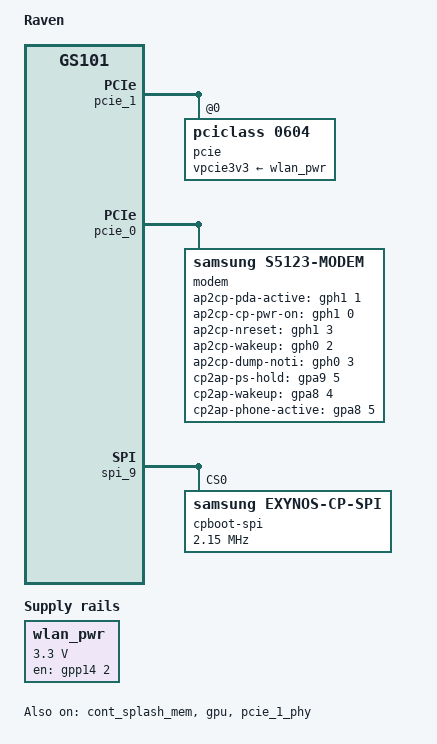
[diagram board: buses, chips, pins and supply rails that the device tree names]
// SPDX-License-Identifier: GPL-2.0-only
/*
 * Raven Device Tree
 *
 * Copyright 2021-2023 Google LLC
 * Copyright 2023-2025 Linaro Ltd
 */

/dts-v1/;

#include "gs101-pixel-common.dtsi"

/ {
	model = "Raven";
	compatible = "google,gs101-raven", "google,gs101";

	/*
	 * ABL picks the base DTB by soc_id (product id 0x09845000 | major
	 * revision); the factory vendor_boot carries one per revision. B0 = 1.
	 */
	soc_id = <0x09845001 0x0>;

	chosen {
		/*
		 * ABL appends its own arguments (console=null among them), so a
		 * panic is silent: panic=10 reboots instead of hanging. init hands
		 * over to the Arch root on userdata when it finds one.
		 */
		bootargs = "console=tty0 panic=10 clk_ignore_unused pd_ignore_unused rdinit=/init";
	};
};

&acpm_ipc {
	pmic-2 {
		regulators {
			ldo4s {
				regulator-name = "vdd2_uwb";
				regulator-min-microvolt = <2500000>;
				regulator-max-microvolt = <3300000>;
			};

			ldo14s {
				regulator-name = "vdd3_uwb";
				regulator-min-microvolt = <1600000>;
				regulator-max-microvolt = <1950000>;
			};
		};
	};
};

&cont_splash_mem {
	reg = <0x0 0xfac00000 (1440 * 3120 * 4)>;

	status = "okay";
};

&framebuffer0 {
	width = <1440>;
	height = <3120>;
	stride = <(1440 * 4)>;
	format = "a8r8g8b8";

	status = "okay";
};

/* The Mali-G78 MP20 on its S2MPG10/11 rails, as postmarketOS describes them */
&gpu {
	mali-supply = <&s2mpg11_buck2s>;
	g3d-l2-supply = <&s2mpg11_buck8s>;
	g3d-m-supply = <&s2mpg11_ldo1s>;
	int-m-supply = <&s2mpg10_buck7m>;

	status = "okay";
};

/*
 * GSA's pin controller belongs to the secure world: a read of its registers
 * from Linux raises a synchronous external abort (its debugfs pin list
 * oopsed and once hung the phone). Nothing here uses its one bank (gps3).
 */
&pinctrl_gsactrl {
	status = "disabled";
};

/*
 * Wi-Fi: the BCM4389 on PCIe GEN4A_1 (Google's gs101-common-wlan.dtsi):
 * WL_REG_ON on gpp14-2. As on cheetah, its DMA buffers come from a
 * restricted pool below 4 GiB (2 address cells, 1 size cell on gs101).
 * Google's raven node runs the link without cache coherency.
 */
/ {
	wlan_pwr: regulator-wlan {
		compatible = "regulator-fixed";
		regulator-name = "wlan-reg-on";
		regulator-min-microvolt = <3300000>;
		regulator-max-microvolt = <3300000>;
		gpio = <&gpp14 2 GPIO_ACTIVE_HIGH>;
		enable-active-high;
		startup-delay-us = <200000>;
	};

	reserved-memory {
		wifi_dma_pool: wifi-dma-pool {
			compatible = "restricted-dma-pool";
			size = <0x1000000>;
			alignment = <0x0 0x200000>;
			/* the chip's writes above 4 GiB are not seen (cheetah) */
			alloc-ranges = <0x0 0x80000000 0x80000000>;
		};
	};
};

&pcie_1_phy {
	status = "okay";
};

&pcie_1 {
	status = "okay";

	pcie@0,0 {
		compatible = "pciclass,0604";
		device_type = "pci";
		reg = <0x0 0x0 0x0 0x0 0x0>;
		bus-range = <0x01 0xff>;
		#address-cells = <3>;
		#size-cells = <2>;
		ranges;
		vpcie3v3-supply = <&wlan_pwr>;

		wifi@0,0 {
			compatible = "pci14e4,4441";
			reg = <0x10000 0x0 0x0 0x0 0x0>;
			brcm,board-type = "google,gs101-raven";
			memory-region = <&wifi_dma_pool>;
		};
	};
};

/ {
	aliases {
		/* the modem's first boot stage: cpboot_spi_bus_num = 9 */
		spi9 = &spi_9;
	};
};

/*
 * Modem: Samsung S5123 on PCIe GEN4A_0 (HSI1), with its control lines from
 * stock's cpif node (board overlay 6). Raw levels, as Google's CPIF drives
 * them. The S5123 has no warm-reset lines. The link driver (pcie-gs201-cp)
 * drives these while pcie_0 is enabled, which only the modem-link-test
 * bring-up overlay does; the shared memory comes with the modem driver
 * (MODEM-PLAN.md M3).
 */
&pcie_0 {
	modem {
		compatible = "samsung,s5123-modem";
		ap2cp-pda-active-gpios = <&gph1 1 GPIO_ACTIVE_HIGH>;
		ap2cp-cp-pwr-on-gpios = <&gph1 0 GPIO_ACTIVE_HIGH>;
		ap2cp-nreset-gpios = <&gph1 3 GPIO_ACTIVE_HIGH>;
		ap2cp-wakeup-gpios = <&gph0 2 GPIO_ACTIVE_HIGH>;
		ap2cp-dump-noti-gpios = <&gph0 3 GPIO_ACTIVE_HIGH>;
		cp2ap-ps-hold-gpios = <&gpa9 5 GPIO_ACTIVE_HIGH>;
		cp2ap-wakeup-gpios = <&gpa8 4 GPIO_ACTIVE_HIGH>;
		cp2ap-phone-active-gpios = <&gpa8 5 GPIO_ACTIVE_HIGH>;
	};
};

/*
 * The modem's first boot stage (the BOOT entry of modem.bin, under 128 KiB)
 * goes over USI9's SPI before its PCIe side comes up, as on stock (board
 * overlay 6: native chip select, 2.15 MHz). Disabled until the
 * modem-spi-test bring-up overlay.
 */
&usi9 {
	samsung,mode = <USI_MODE_SPI>;
};

&spi_9 {
	pinctrl-0 = <&spi9_bus &spi9_cs_func>;
	pinctrl-names = "default";
	num-cs = <1>;

	cpboot-spi@0 {
		compatible = "samsung,exynos-cp-spi";
		reg = <0>;
		spi-max-frequency = <2150000>;
	};
};

/*
 * The modem's shared memory, as stock's cp_shmem (board overlay 6): IPC,
 * the MSI page and the packet processor's downlink and uplink buffers. The
 * modem writes these by DMA once it runs, so Linux must never use them;
 * our kernel had them as System RAM. Reserved always, as on stock.
 */
/ {
	reserved-memory {
		cp_ipc_mem: cp-rmem@f0000000 {
			reg = <0x0 0xf0000000 0x800000>;
			no-map;
		};

		cp_msi_mem: cp-msi@f6200000 {
			reg = <0x0 0xf6200000 0x1000>;
			no-map;
		};

		cp_pktproc_mem: cp-rmem1@e8000000 {
			reg = <0x0 0xe8000000 0x1c00000>;
			no-map;
		};

		cp_pktproc_ul_mem: cp-rmem2@ee000000 {
			reg = <0x0 0xee000000 0x400000>;
			no-map;
		};
	};
};
